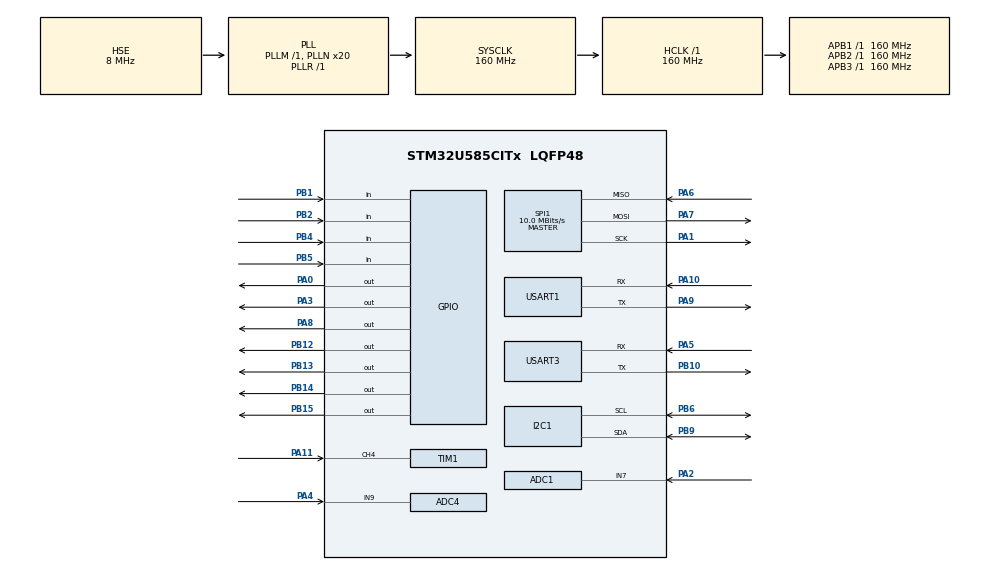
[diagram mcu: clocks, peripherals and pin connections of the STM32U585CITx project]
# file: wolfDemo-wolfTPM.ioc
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ADC1.NbrOfConversion=1
ADC1.master=1
ADC4.NbrOfConversion=1
ADC4.NbrOfConversionFlag=0
ADC4.SelectedChannel=ADC_CHANNEL_9
CORTEX_M33_NS.MPU_Control=__NULL
CORTEX_M33_NS.userName=CORTEX_M33
I2C1.Timing=0x30909DEC
Mcu.Family=STM32U5
Mcu.Name=STM32U585CITx
Mcu.Package=LQFP48
NVIC.PriorityGroup=NVIC_PRIORITYGROUP_4
NVIC.TIM6_IRQn=true\:2\:0\:true\:false\:true\:true\:true\:true
PA0.GPIO_Speed=GPIO_SPEED_FREQ_HIGH
PA0.PinState=GPIO_PIN_SET
PA0.Signal=GPIO_Output
PA1.GPIO_Speed=GPIO_SPEED_FREQ_LOW
PA1.Mode=Full_Duplex_Master
PA1.Signal=SPI1_SCK
PA10.Mode=Asynchronous
PA10.Signal=USART1_RX
PA11.Signal=S_TIM1_CH4
PA13\ (JTMS/SWDIO).Mode=JTAG_4_pins
PA13\ (JTMS/SWDIO).Signal=DEBUG_JTMS-SWDIO
PA14\ (JTCK/SWCLK).Mode=JTAG_4_pins
PA14\ (JTCK/SWCLK).Signal=DEBUG_JTCK-SWCLK
PA15\ (JTDI).Mode=JTAG_4_pins
PA15\ (JTDI).Signal=DEBUG_JTDI
PA2.Mode=IN7-Single-Ended
PA2.Signal=ADC1_IN7
PA3.GPIO_Speed=GPIO_SPEED_FREQ_VERY_HIGH
PA3.PinState=GPIO_PIN_RESET
PA3.Signal=GPIO_Output
PA4.Mode=IN9
PA4.Signal=ADC4_IN9
PA5.Mode=Asynchronous
PA5.Signal=USART3_RX
PA6.Mode=Full_Duplex_Master
PA6.Signal=SPI1_MISO
PA7.GPIO_Speed=GPIO_SPEED_FREQ_LOW
PA7.Mode=Full_Duplex_Master
PA7.Signal=SPI1_MOSI
PA8.Signal=GPIO_Output
PA9.Mode=Asynchronous
PA9.Signal=USART1_TX
PB1.Signal=GPIO_Input
PB10.Mode=Asynchronous
PB10.Signal=USART3_TX
PB12.GPIO_Speed=GPIO_SPEED_FREQ_HIGH
PB12.Signal=GPIO_Output
PB13.GPIO_Speed=GPIO_SPEED_FREQ_HIGH
PB13.Signal=GPIO_Output
PB14.GPIO_Speed=GPIO_SPEED_FREQ_HIGH
PB14.Signal=GPIO_Output
PB15.GPIO_ModeDefaultOutputPP=GPIO_MODE_OUTPUT_PP
PB15.GPIO_PuPd=GPIO_NOPULL
PB15.GPIO_Speed=GPIO_SPEED_FREQ_HIGH
PB15.Signal=GPIO_Output
PB2.Signal=GPIO_Input
PB3\ (JTDO/TRACESWO).Mode=JTAG_4_pins
PB3\ (JTDO/TRACESWO).Signal=DEBUG_JTDO-SWO
PB4\ (NJTRST).Signal=GPIO_Input
PB5.Signal=GPIO_Input
PB6.Mode=I2C
PB6.Signal=I2C1_SCL
PB9.Mode=I2C
PB9.Signal=I2C1_SDA
PC14-OSC32_IN\ (PC14).Mode=LSE-External-Oscillator
PC14-OSC32_IN\ (PC14).Signal=RCC_OSC32_IN
PC15-OSC32_OUT\ (PC15).Mode=LSE-External-Oscillator
PC15-OSC32_OUT\ (PC15).Signal=RCC_OSC32_OUT
PH0-OSC_IN\ (PH0).Mode=HSE-External-Oscillator
PH0-OSC_IN\ (PH0).Signal=RCC_OSC_IN
PH1-OSC_OUT\ (PH1).Mode=HSE-External-Oscillator
PH1-OSC_OUT\ (PH1).Signal=RCC_OSC_OUT
ProjectManager.HeapSize=0x200
ProjectManager.StackSize=0x400
ProjectManager.TargetToolchain=STM32CubeIDE
RCC.ADCFreq_Value=16000000
RCC.AHBFreq_Value=160000000
RCC.APB1Freq_Value=160000000
RCC.APB1TimFreq_Value=160000000
RCC.APB2Freq_Value=160000000
RCC.APB2TimFreq_Value=160000000
RCC.APB3Freq_Value=160000000
RCC.CortexFreq_Value=160000000
RCC.EPOD_VALUE=8000000
RCC.HCLKFreq_Value=160000000
RCC.HSE_VALUE=8000000
RCC.HSI48_VALUE=48000000
RCC.HSI_VALUE=16000000
RCC.LSIDIV_VALUE=32000
RCC.MSIClockRange=RCC_MSIRANGE_0
RCC.MSI_VALUE=48000000
RCC.PLL1R=1
RCC.PLL2FRACN=0
RCC.PLL3FRACN=0
RCC.PLLFRACN=0
RCC.PLLN=20
RCC.PLLSourceVirtual=RCC_PLLSOURCE_HSE
RCC.RTCClockSelection=RCC_RTCCLKSOURCE_LSE
RCC.SYSCLKFreq_VALUE=160000000
RCC.SYSCLKSource=RCC_SYSCLKSOURCE_PLLCLK
RCC.USBFreq_Value=48000000
RCC.VCOOutputFreq_Value=160000000
SH.S_TIM1_CH4.0=TIM1_CH4,Input_Capture4_from_TI4
SPI1.BaudRatePrescaler=SPI_BAUDRATEPRESCALER_16
SPI1.CalculateBaudRate=10.0 MBits/s
SPI1.DataSize=SPI_DATASIZE_8BIT
SPI1.Direction=SPI_DIRECTION_2LINES
SPI1.Mode=SPI_MODE_MASTER
SPI1.NSSPMode=SPI_NSS_PULSE_DISABLE
SPI1.VirtualType=VM_MASTER
TIM1.Channel-Input_Capture4_from_TI4=TIM_CHANNEL_4
TIM6.AutoReloadPreload=TIM_AUTORELOAD_PRELOAD_DISABLE
TIM6.PeriodNoDither=15
TIM6.Prescaler=159
TIM6.TIM_MasterOutputTrigger=TIM_TRGO_RESET
USART1.VirtualMode-Asynchronous=VM_ASYNC
USART3.VirtualMode-Asynchronous=VM_ASYNC
VP_AES_VS_AES.Mode=AES_Activate
VP_DCACHE1_VS_DCACHE.Mode=DCACHE_Activate
VP_HASH_VS_HASH.Mode=HASH_Activate
VP_ICACHE_VS_ICACHE.Mode=DefaultMode
VP_LPBAMQUEUE_VS_QUEUE.Mode=QUEUEMODE
VP_LPBAM_VS_SIG1.Mode=SmartRun
VP_LPBAM_VS_SIG4.Mode=LPDMA1
VP_MEMORYMAP_VS_MEMORYMAP.Mode=CurAppReg
VP_PKA_VS_PKA.Mode=PKA_Activate
VP_PWR_VS_SECSignals.Mode=Security/Privilege
VP_PWR_Vdda.Mode=isolationVdda
VP_RNG_VS_RNG.Mode=RNG_Activate
VP_RTC_VS_RTC_Activate.Mode=RTC_Enabled
VP_TIM6_VS_ClockSourceINT.Mode=Enable_Timer
VP_wolfSSL.I-CUBE-wolfSSL_VS_wolfSSLJjwolfSSL_5.8.2_5.8.2.Mode=wolfSSLJjwolfSSL
VP_wolfSSL.I-CUBE-wolfTPM_VS_wolfTPMJjwolfTPM_3.8.0_3.8.0.Mode=wolfTPMJjwolfTPM
board=custom
wolfSSL.I-CUBE-wolfSSL.5.8.2.WOLF_CONF_ARMASM=0
wolfSSL.I-CUBE-wolfSSL.5.8.2.WOLF_CONF_KYBER=1
wolfSSL.I-CUBE-wolfSSL.5.8.2.WOLF_CONF_SHA2_384=1
wolfSSL.I-CUBE-wolfSSL.5.8.2.WOLF_CONF_SHA2_512=1
wolfSSL.I-CUBE-wolfSSL.5.8.2.WOLF_CONF_SHA3=1
wolfSSL.I-CUBE-wolfSSL.5.8.2.WOLF_CONF_TPM=1
wolfSSL.I-CUBE-wolfSSL.5.8.2.WOLF_CONF_WOLFCRYPT_ONLY=1
wolfSSL.I-CUBE-wolfSSL.5.8.2.wolfSSLCcwolfSSLJjwolfCryptJjCore=true
wolfSSL.I-CUBE-wolfSSL.5.8.2.wolfSSLCcwolfSSLJjwolfCryptJjTest=true
wolfSSL.I-CUBE-wolfSSL.5.8.2.wolfSSLCcwolfSSLJjwolfSSLJjCore=true
wolfSSL.I-CUBE-wolfTPM.3.8.0.WOLFTPM_CONF_DEBUG=1
wolfSSL.I-CUBE-wolfTPM.3.8.0.WOLFTPM_CONF_HW_SPI=0
wolfSSL.I-CUBE-wolfTPM.3.8.0.wolfTPMCcwolfTPMJjwolfTPMJjCore=true
wolfSSL.I-CUBE-wolfTPM.3.8.0.wolfTPMCcwolfTPMJjwolfTPMJjTest=true

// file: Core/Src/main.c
/* USER CODE BEGIN Header */
/**
  ******************************************************************************
  * @file           : main.c
  * @brief          : Main program body
  ******************************************************************************
  * @attention
  *
  * Copyright (c) 2025 STMicroelectronics.
  * All rights reserved.
  *
  * This software is licensed under terms that can be found in the LICENSE file
  * in the root directory of this software component.
  * If no LICENSE file comes with this software, it is provided AS-IS.
  *
  ******************************************************************************
  */
/* USER CODE END Header */
#include "main.h"

/* USER CODE BEGIN Includes */
#include <stdio.h>
#include <stdbool.h>
#include <stdarg.h>
#include <wolfcrypt/benchmark/benchmark.h>
/* USER CODE END Includes */

ADC_HandleTypeDef hadc1;
ADC_HandleTypeDef hadc4;

CRYP_HandleTypeDef hcryp;
__ALIGN_BEGIN static const uint32_t pKeyAES[4] __ALIGN_END = {
                            0x00000000,0x00000000,0x00000000,0x00000000};

DCACHE_HandleTypeDef hdcache1;

HASH_HandleTypeDef hhash;

I2C_HandleTypeDef hi2c1;

PKA_HandleTypeDef hpka;

RNG_HandleTypeDef hrng;

RTC_HandleTypeDef hrtc;

SPI_HandleTypeDef hspi1;

TIM_HandleTypeDef htim1;
TIM_HandleTypeDef htim6;

UART_HandleTypeDef huart1;
UART_HandleTypeDef huart3;

void SystemClock_Config(void);
static void MX_GPIO_Init(void);
static void MX_ADC1_Init(void);
static void MX_ADC4_Init(void);
static void MX_I2C1_Init(void);
static void MX_SPI1_Init(void);
static void MX_TIM1_Init(void);
static void MX_USART1_UART_Init(void);
static void MX_USART3_UART_Init(void);
static void MX_DCACHE1_Init(void);
static void MX_ICACHE_Init(void);
static void MX_TIM6_Init(void);
static void MX_AES_Init(void);
static void MX_HASH_Init(void);
static void MX_RNG_Init(void);
static void MX_PKA_Init(void);
static void MX_RTC_Init(void);

/* USER CODE BEGIN 0 */
static int current_led = 0;
static inline void LED_Set(uint8_t idx, bool on)
{
  uint16_t pin;
  switch(idx) {
    case 0: pin = GPIO_PIN_12; break;
    case 1: pin = GPIO_PIN_13; break;
    case 2: pin = GPIO_PIN_14; break;
    default: pin = GPIO_PIN_15; break;
  }

  HAL_GPIO_WritePin(GPIOB, pin, on ? GPIO_PIN_SET : GPIO_PIN_RESET);
}
static inline void LED_Set_Change()
{

  switch(current_led) {
    case 0:
    	LED_Set(3, false);
    	LED_Set(0, true);
    	break;
    case 1:
    	LED_Set(0, false);
    	LED_Set(1, true);
    	break;
    case 2:
    	LED_Set(1, false);
    	LED_Set(2, true);
    	break;
    default:
    	LED_Set(2, false);
    	LED_Set(3, true);
    	break;
  }

  current_led++;
  if (current_led == 4)
	  current_led = 0;
}

/* Retargets the C library printf function to the USART. */
#include <stdio.h>
#ifdef __GNUC__
int __io_putchar(int ch)
#else
int fputc(int ch, FILE *f)
#endif
{
    HAL_UART_Transmit(&huart1, (uint8_t *)&ch, 1, 0xFFFF);

    return ch;
}

#ifdef __GNUC__
int _write(int file,char *ptr, int len)
{
    int DataIdx;

    for (DataIdx= 0; DataIdx< len; DataIdx++) {
        __io_putchar(*ptr++);
    }
    return len;
}
#endif

int _wrap_printf(const char *fmt, ...) {

    va_list ap;
    va_start(ap, fmt);
    LED_Set_Change();
    // Call the real vprintf so we don’t have to forward varargs ourselves
    int rc = vprintf(fmt, ap);
    va_end(ap);

    return rc;
}

/* USER CODE END 0 */

int main(void)
{

  /* MCU Configuration--------------------------------------------------------*/

  /* Reset of all peripherals, Initializes the Flash interface and the Systick. */
  HAL_Init();

  /* USER CODE BEGIN Init */
  /* Turn off buffers, so I/O occurs immediately */
  setvbuf(stdin, NULL, _IONBF, 0);
  setvbuf(stdout, NULL, _IONBF, 0);
  setvbuf(stderr, NULL, _IONBF, 0);
  /* USER CODE END Init */

  /* Configure the system clock */
  SystemClock_Config();

  /* Initialize all configured peripherals */
  MX_GPIO_Init();
  MX_ADC1_Init();
  MX_ADC4_Init();
  MX_I2C1_Init();
  MX_SPI1_Init();
  MX_TIM1_Init();
  MX_USART1_UART_Init();
  MX_USART3_UART_Init();
  MX_DCACHE1_Init();
  MX_ICACHE_Init();
  MX_TIM6_Init();
  MX_AES_Init();
  MX_HASH_Init();
  MX_RNG_Init();
  MX_PKA_Init();
  MX_RTC_Init();
  /* USER CODE BEGIN 2 */
  uint32_t loop_count = 0;
  /* USER CODE END 2 */

  /* Infinite loop */
  /* USER CODE BEGIN WHILE */
  while (1)
  {
	  loop_count++;
	  printf("\x1b[2J\x1b[H\x1b[4m\x1b[97mwolf\x1b[96mSSL \x1b[38;2;255;210;0mSTM32U585 @ 160 MHz, TPM benchmark\x1b[92m\x1b[0m\r\n");
	  printf("Benchmark Demo run %u\r\n", loop_count);

	  int rc = TPM2_Wrapper_Bench(&hspi1);
	  if (rc != 0)
		  printf("TPM fail: %d\n", rc);
	  else
		  printf("Benchmark complete!\n");
	  HAL_Delay(5000);
    /* USER CODE END WHILE */

  }
}

void SystemClock_Config(void)
{
  RCC_OscInitTypeDef RCC_OscInitStruct = {0};
  RCC_ClkInitTypeDef RCC_ClkInitStruct = {0};

  /** Configure the main internal regulator output voltage
  */
  if (HAL_PWREx_ControlVoltageScaling(PWR_REGULATOR_VOLTAGE_SCALE1) != HAL_OK)
  {
    Error_Handler();
  }

  /** Configure LSE Drive Capability
  */
  HAL_PWR_EnableBkUpAccess();
  __HAL_RCC_LSEDRIVE_CONFIG(RCC_LSEDRIVE_LOW);

  /** Initializes the CPU, AHB and APB buses clocks
  */
  RCC_OscInitStruct.OscillatorType = RCC_OSCILLATORTYPE_HSI48|RCC_OSCILLATORTYPE_HSI
                              |RCC_OSCILLATORTYPE_HSE|RCC_OSCILLATORTYPE_LSE;
  RCC_OscInitStruct.HSEState = RCC_HSE_ON;
  RCC_OscInitStruct.LSEState = RCC_LSE_ON;
  RCC_OscInitStruct.HSIState = RCC_HSI_ON;
  RCC_OscInitStruct.HSI48State = RCC_HSI48_ON;
  RCC_OscInitStruct.HSICalibrationValue = RCC_HSICALIBRATION_DEFAULT;
  RCC_OscInitStruct.PLL.PLLState = RCC_PLL_ON;
  RCC_OscInitStruct.PLL.PLLSource = RCC_PLLSOURCE_HSE;
  RCC_OscInitStruct.PLL.PLLMBOOST = RCC_PLLMBOOST_DIV1;
  RCC_OscInitStruct.PLL.PLLM = 1;
  RCC_OscInitStruct.PLL.PLLN = 20;
  RCC_OscInitStruct.PLL.PLLP = 2;
  RCC_OscInitStruct.PLL.PLLQ = 2;
  RCC_OscInitStruct.PLL.PLLR = 1;
  RCC_OscInitStruct.PLL.PLLRGE = RCC_PLLVCIRANGE_1;
  RCC_OscInitStruct.PLL.PLLFRACN = 0;
  if (HAL_RCC_OscConfig(&RCC_OscInitStruct) != HAL_OK)
  {
    Error_Handler();
  }

  /** Initializes the CPU, AHB and APB buses clocks
  */
  RCC_ClkInitStruct.ClockType = RCC_CLOCKTYPE_HCLK|RCC_CLOCKTYPE_SYSCLK
                              |RCC_CLOCKTYPE_PCLK1|RCC_CLOCKTYPE_PCLK2
                              |RCC_CLOCKTYPE_PCLK3;
  RCC_ClkInitStruct.SYSCLKSource = RCC_SYSCLKSOURCE_PLLCLK;
  RCC_ClkInitStruct.AHBCLKDivider = RCC_SYSCLK_DIV1;
  RCC_ClkInitStruct.APB1CLKDivider = RCC_HCLK_DIV1;
  RCC_ClkInitStruct.APB2CLKDivider = RCC_HCLK_DIV1;
  RCC_ClkInitStruct.APB3CLKDivider = RCC_HCLK_DIV1;

  if (HAL_RCC_ClockConfig(&RCC_ClkInitStruct, FLASH_LATENCY_4) != HAL_OK)
  {
    Error_Handler();
  }
}

static void MX_ADC1_Init(void)
{

  /** Common config
  */
  hadc1.Instance = ADC1;
  hadc1.Init.ClockPrescaler = ADC_CLOCK_ASYNC_DIV1;
  hadc1.Init.Resolution = ADC_RESOLUTION_14B;
  hadc1.Init.GainCompensation = 0;
  hadc1.Init.ScanConvMode = ADC_SCAN_DISABLE;
  hadc1.Init.EOCSelection = ADC_EOC_SINGLE_CONV;
  hadc1.Init.LowPowerAutoWait = DISABLE;
  hadc1.Init.ContinuousConvMode = DISABLE;
  hadc1.Init.NbrOfConversion = 1;
  hadc1.Init.DiscontinuousConvMode = DISABLE;
  hadc1.Init.DMAContinuousRequests = DISABLE;
  hadc1.Init.TriggerFrequencyMode = ADC_TRIGGER_FREQ_HIGH;
  hadc1.Init.Overrun = ADC_OVR_DATA_PRESERVED;
  hadc1.Init.LeftBitShift = ADC_LEFTBITSHIFT_NONE;
  hadc1.Init.ConversionDataManagement = ADC_CONVERSIONDATA_DR;
  hadc1.Init.OversamplingMode = DISABLE;
  if (HAL_ADC_Init(&hadc1) != HAL_OK)
  {
    Error_Handler();
  }

}

static void MX_ADC4_Init(void)
{

  /** Common config
  */
  hadc4.Instance = ADC4;
  hadc4.Init.ClockPrescaler = ADC_CLOCK_ASYNC_DIV1;
  hadc4.Init.Resolution = ADC_RESOLUTION_12B;
  hadc4.Init.DataAlign = ADC_DATAALIGN_RIGHT;
  hadc4.Init.ScanConvMode = ADC_SCAN_DIRECTION_FORWARD;
  hadc4.Init.EOCSelection = ADC_EOC_SINGLE_CONV;
  hadc4.Init.LowPowerAutoPowerOff = ADC_LOW_POWER_NONE;
  hadc4.Init.LowPowerAutoWait = DISABLE;
  hadc4.Init.ContinuousConvMode = DISABLE;
  hadc4.Init.NbrOfConversion = 1;
  hadc4.Init.DiscontinuousConvMode = DISABLE;
  hadc4.Init.ExternalTrigConv = ADC_SOFTWARE_START;
  hadc4.Init.ExternalTrigConvEdge = ADC_EXTERNALTRIGCONVEDGE_NONE;
  hadc4.Init.DMAContinuousRequests = DISABLE;
  hadc4.Init.TriggerFrequencyMode = ADC_TRIGGER_FREQ_LOW;
  hadc4.Init.Overrun = ADC_OVR_DATA_PRESERVED;
  hadc4.Init.SamplingTimeCommon1 = ADC4_SAMPLETIME_1CYCLE_5;
  hadc4.Init.SamplingTimeCommon2 = ADC4_SAMPLETIME_1CYCLE_5;
  hadc4.Init.OversamplingMode = DISABLE;
  if (HAL_ADC_Init(&hadc4) != HAL_OK)
  {
    Error_Handler();
  }

}

static void MX_AES_Init(void)
{

  hcryp.Instance = AES;
  hcryp.Init.DataType = CRYP_NO_SWAP;
  hcryp.Init.KeySize = CRYP_KEYSIZE_128B;
  hcryp.Init.pKey = (uint32_t *)pKeyAES;
  hcryp.Init.Algorithm = CRYP_AES_ECB;
  hcryp.Init.DataWidthUnit = CRYP_DATAWIDTHUNIT_WORD;
  hcryp.Init.HeaderWidthUnit = CRYP_HEADERWIDTHUNIT_WORD;
  hcryp.Init.KeyIVConfigSkip = CRYP_KEYIVCONFIG_ALWAYS;
  hcryp.Init.KeyMode = CRYP_KEYMODE_NORMAL;
  if (HAL_CRYP_Init(&hcryp) != HAL_OK)
  {
    Error_Handler();
  }

}

static void MX_DCACHE1_Init(void)
{

  hdcache1.Instance = DCACHE1;
  hdcache1.Init.ReadBurstType = DCACHE_READ_BURST_WRAP;
  if (HAL_DCACHE_Init(&hdcache1) != HAL_OK)
  {
    Error_Handler();
  }

}

static void MX_HASH_Init(void)
{

  hhash.Init.DataType = HASH_DATATYPE_32B;
  if (HAL_HASH_Init(&hhash) != HAL_OK)
  {
    Error_Handler();
  }

}

static void MX_I2C1_Init(void)
{

  hi2c1.Instance = I2C1;
  hi2c1.Init.Timing = 0x30909DEC;
  hi2c1.Init.OwnAddress1 = 0;
  hi2c1.Init.AddressingMode = I2C_ADDRESSINGMODE_7BIT;
  hi2c1.Init.DualAddressMode = I2C_DUALADDRESS_DISABLE;
  hi2c1.Init.OwnAddress2 = 0;
  hi2c1.Init.OwnAddress2Masks = I2C_OA2_NOMASK;
  hi2c1.Init.GeneralCallMode = I2C_GENERALCALL_DISABLE;
  hi2c1.Init.NoStretchMode = I2C_NOSTRETCH_DISABLE;
  if (HAL_I2C_Init(&hi2c1) != HAL_OK)
  {
    Error_Handler();
  }

  /** Configure Analogue filter
  */
  if (HAL_I2CEx_ConfigAnalogFilter(&hi2c1, I2C_ANALOGFILTER_ENABLE) != HAL_OK)
  {
    Error_Handler();
  }

  /** Configure Digital filter
  */
  if (HAL_I2CEx_ConfigDigitalFilter(&hi2c1, 0) != HAL_OK)
  {
    Error_Handler();
  }

}

static void MX_ICACHE_Init(void)
{

  /** Enable instruction cache (default 2-ways set associative cache)
  */
  if (HAL_ICACHE_Enable() != HAL_OK)
  {
    Error_Handler();
  }

}

static void MX_PKA_Init(void)
{

  hpka.Instance = PKA;
  if (HAL_PKA_Init(&hpka) != HAL_OK)
  {
    Error_Handler();
  }

}

static void MX_RNG_Init(void)
{

  hrng.Instance = RNG;
  hrng.Init.ClockErrorDetection = RNG_CED_ENABLE;
  if (HAL_RNG_Init(&hrng) != HAL_OK)
  {
    Error_Handler();
  }

}

static void MX_RTC_Init(void)
{

  RTC_PrivilegeStateTypeDef privilegeState = {0};

  /** Initialize RTC Only
  */
  hrtc.Instance = RTC;
  hrtc.Init.HourFormat = RTC_HOURFORMAT_24;
  hrtc.Init.AsynchPrediv = 127;
  hrtc.Init.SynchPrediv = 255;
  hrtc.Init.OutPut = RTC_OUTPUT_DISABLE;
  hrtc.Init.OutPutRemap = RTC_OUTPUT_REMAP_NONE;
  hrtc.Init.OutPutPolarity = RTC_OUTPUT_POLARITY_HIGH;
  hrtc.Init.OutPutType = RTC_OUTPUT_TYPE_OPENDRAIN;
  hrtc.Init.OutPutPullUp = RTC_OUTPUT_PULLUP_NONE;
  hrtc.Init.BinMode = RTC_BINARY_NONE;
  if (HAL_RTC_Init(&hrtc) != HAL_OK)
  {
    Error_Handler();
  }
  privilegeState.rtcPrivilegeFull = RTC_PRIVILEGE_FULL_NO;
  privilegeState.backupRegisterPrivZone = RTC_PRIVILEGE_BKUP_ZONE_NONE;
  privilegeState.backupRegisterStartZone2 = RTC_BKP_DR0;
  privilegeState.backupRegisterStartZone3 = RTC_BKP_DR0;
  if (HAL_RTCEx_PrivilegeModeSet(&hrtc, &privilegeState) != HAL_OK)
  {
    Error_Handler();
  }

}

static void MX_SPI1_Init(void)
{

  SPI_AutonomousModeConfTypeDef HAL_SPI_AutonomousMode_Cfg_Struct = {0};

  /* SPI1 parameter configuration*/
  hspi1.Instance = SPI1;
  hspi1.Init.Mode = SPI_MODE_MASTER;
  hspi1.Init.Direction = SPI_DIRECTION_2LINES;
  hspi1.Init.DataSize = SPI_DATASIZE_8BIT;
  hspi1.Init.CLKPolarity = SPI_POLARITY_LOW;
  hspi1.Init.CLKPhase = SPI_PHASE_1EDGE;
  hspi1.Init.NSS = SPI_NSS_SOFT;
  hspi1.Init.BaudRatePrescaler = SPI_BAUDRATEPRESCALER_8;
  hspi1.Init.FirstBit = SPI_FIRSTBIT_MSB;
  hspi1.Init.TIMode = SPI_TIMODE_DISABLE;
  hspi1.Init.CRCCalculation = SPI_CRCCALCULATION_DISABLE;
  hspi1.Init.CRCPolynomial = 0x7;
  hspi1.Init.NSSPMode = SPI_NSS_PULSE_DISABLE;
  hspi1.Init.NSSPolarity = SPI_NSS_POLARITY_LOW;
  hspi1.Init.FifoThreshold = SPI_FIFO_THRESHOLD_01DATA;
  hspi1.Init.MasterSSIdleness = SPI_MASTER_SS_IDLENESS_00CYCLE;
  hspi1.Init.MasterInterDataIdleness = SPI_MASTER_INTERDATA_IDLENESS_00CYCLE;
  hspi1.Init.MasterReceiverAutoSusp = SPI_MASTER_RX_AUTOSUSP_DISABLE;
  hspi1.Init.MasterKeepIOState = SPI_MASTER_KEEP_IO_STATE_DISABLE;
  hspi1.Init.IOSwap = SPI_IO_SWAP_DISABLE;
  hspi1.Init.ReadyMasterManagement = SPI_RDY_MASTER_MANAGEMENT_INTERNALLY;
  hspi1.Init.ReadyPolarity = SPI_RDY_POLARITY_HIGH;
  if (HAL_SPI_Init(&hspi1) != HAL_OK)
  {
    Error_Handler();
  }
  HAL_SPI_AutonomousMode_Cfg_Struct.TriggerState = SPI_AUTO_MODE_DISABLE;
  HAL_SPI_AutonomousMode_Cfg_Struct.TriggerSelection = SPI_GRP1_GPDMA_CH0_TCF_TRG;
  HAL_SPI_AutonomousMode_Cfg_Struct.TriggerPolarity = SPI_TRIG_POLARITY_RISING;
  if (HAL_SPIEx_SetConfigAutonomousMode(&hspi1, &HAL_SPI_AutonomousMode_Cfg_Struct) != HAL_OK)
  {
    Error_Handler();
  }

}

static void MX_TIM1_Init(void)
{

  TIM_MasterConfigTypeDef sMasterConfig = {0};
  TIM_IC_InitTypeDef sConfigIC = {0};

  htim1.Instance = TIM1;
  htim1.Init.Prescaler = 0;
  htim1.Init.CounterMode = TIM_COUNTERMODE_UP;
  htim1.Init.Period = 65535;
  htim1.Init.ClockDivision = TIM_CLOCKDIVISION_DIV1;
  htim1.Init.RepetitionCounter = 0;
  htim1.Init.AutoReloadPreload = TIM_AUTORELOAD_PRELOAD_DISABLE;
  if (HAL_TIM_IC_Init(&htim1) != HAL_OK)
  {
    Error_Handler();
  }
  sMasterConfig.MasterOutputTrigger = TIM_TRGO_RESET;
  sMasterConfig.MasterOutputTrigger2 = TIM_TRGO2_RESET;
  sMasterConfig.MasterSlaveMode = TIM_MASTERSLAVEMODE_DISABLE;
  if (HAL_TIMEx_MasterConfigSynchronization(&htim1, &sMasterConfig) != HAL_OK)
  {
    Error_Handler();
  }
  sConfigIC.ICPolarity = TIM_INPUTCHANNELPOLARITY_RISING;
  sConfigIC.ICSelection = TIM_ICSELECTION_DIRECTTI;
  sConfigIC.ICPrescaler = TIM_ICPSC_DIV1;
  sConfigIC.ICFilter = 0;
  if (HAL_TIM_IC_ConfigChannel(&htim1, &sConfigIC, TIM_CHANNEL_4) != HAL_OK)
  {
    Error_Handler();
  }

}

static void MX_TIM6_Init(void)
{

  TIM_MasterConfigTypeDef sMasterConfig = {0};

  htim6.Instance = TIM6;
  htim6.Init.Prescaler = 159;
  htim6.Init.CounterMode = TIM_COUNTERMODE_UP;
  htim6.Init.Period = 15;
  htim6.Init.AutoReloadPreload = TIM_AUTORELOAD_PRELOAD_DISABLE;
  if (HAL_TIM_Base_Init(&htim6) != HAL_OK)
  {
    Error_Handler();
  }
  sMasterConfig.MasterOutputTrigger = TIM_TRGO_RESET;
  sMasterConfig.MasterSlaveMode = TIM_MASTERSLAVEMODE_DISABLE;
  if (HAL_TIMEx_MasterConfigSynchronization(&htim6, &sMasterConfig) != HAL_OK)
  {
    Error_Handler();
  }

}

static void MX_USART1_UART_Init(void)
{

  huart1.Instance = USART1;
  huart1.Init.BaudRate = 115200;
  huart1.Init.WordLength = UART_WORDLENGTH_8B;
  huart1.Init.StopBits = UART_STOPBITS_1;
  huart1.Init.Parity = UART_PARITY_NONE;
  huart1.Init.Mode = UART_MODE_TX_RX;
  huart1.Init.HwFlowCtl = UART_HWCONTROL_NONE;
  huart1.Init.OverSampling = UART_OVERSAMPLING_16;
  huart1.Init.OneBitSampling = UART_ONE_BIT_SAMPLE_DISABLE;
  huart1.Init.ClockPrescaler = UART_PRESCALER_DIV1;
  huart1.AdvancedInit.AdvFeatureInit = UART_ADVFEATURE_NO_INIT;
  if (HAL_UART_Init(&huart1) != HAL_OK)
  {
    Error_Handler();
  }
  if (HAL_UARTEx_SetTxFifoThreshold(&huart1, UART_TXFIFO_THRESHOLD_1_8) != HAL_OK)
  {
    Error_Handler();
  }
  if (HAL_UARTEx_SetRxFifoThreshold(&huart1, UART_RXFIFO_THRESHOLD_1_8) != HAL_OK)
  {
    Error_Handler();
  }
  if (HAL_UARTEx_DisableFifoMode(&huart1) != HAL_OK)
  {
    Error_Handler();
  }

}

static void MX_USART3_UART_Init(void)
{

  huart3.Instance = USART3;
  huart3.Init.BaudRate = 115200;
  huart3.Init.WordLength = UART_WORDLENGTH_8B;
  huart3.Init.StopBits = UART_STOPBITS_1;
  huart3.Init.Parity = UART_PARITY_NONE;
  huart3.Init.Mode = UART_MODE_TX_RX;
  huart3.Init.HwFlowCtl = UART_HWCONTROL_NONE;
  huart3.Init.OverSampling = UART_OVERSAMPLING_16;
  huart3.Init.OneBitSampling = UART_ONE_BIT_SAMPLE_DISABLE;
  huart3.Init.ClockPrescaler = UART_PRESCALER_DIV1;
  huart3.AdvancedInit.AdvFeatureInit = UART_ADVFEATURE_NO_INIT;
  if (HAL_UART_Init(&huart3) != HAL_OK)
  {
    Error_Handler();
  }
  if (HAL_UARTEx_SetTxFifoThreshold(&huart3, UART_TXFIFO_THRESHOLD_1_8) != HAL_OK)
  {
    Error_Handler();
  }
  if (HAL_UARTEx_SetRxFifoThreshold(&huart3, UART_RXFIFO_THRESHOLD_1_8) != HAL_OK)
  {
    Error_Handler();
  }
  if (HAL_UARTEx_DisableFifoMode(&huart3) != HAL_OK)
  {
    Error_Handler();
  }

}

static void MX_GPIO_Init(void)
{
  GPIO_InitTypeDef GPIO_InitStruct = {0};

  /* GPIO Ports Clock Enable */
  __HAL_RCC_GPIOC_CLK_ENABLE();
  __HAL_RCC_GPIOH_CLK_ENABLE();
  __HAL_RCC_GPIOA_CLK_ENABLE();
  __HAL_RCC_GPIOB_CLK_ENABLE();

  /*Configure GPIO pin Output Level */
  HAL_GPIO_WritePin(GPIOA, GPIO_PIN_0, GPIO_PIN_SET);

  /*Configure GPIO pin Output Level */
  HAL_GPIO_WritePin(GPIOA, GPIO_PIN_3|GPIO_PIN_8, GPIO_PIN_RESET);

  /*Configure GPIO pin Output Level */
  HAL_GPIO_WritePin(GPIOB, GPIO_PIN_12|GPIO_PIN_13|GPIO_PIN_14|GPIO_PIN_15, GPIO_PIN_RESET);

  /*Configure GPIO pin : PA0 */
  GPIO_InitStruct.Pin = GPIO_PIN_0;
  GPIO_InitStruct.Mode = GPIO_MODE_OUTPUT_PP;
  GPIO_InitStruct.Pull = GPIO_NOPULL;
  GPIO_InitStruct.Speed = GPIO_SPEED_FREQ_HIGH;
  HAL_GPIO_Init(GPIOA, &GPIO_InitStruct);

  /*Configure GPIO pin : PA3 */
  GPIO_InitStruct.Pin = GPIO_PIN_3;
  GPIO_InitStruct.Mode = GPIO_MODE_OUTPUT_PP;
  GPIO_InitStruct.Pull = GPIO_NOPULL;
  GPIO_InitStruct.Speed = GPIO_SPEED_FREQ_VERY_HIGH;
  HAL_GPIO_Init(GPIOA, &GPIO_InitStruct);

  /*Configure GPIO pins : PB1 PB2 PB4 PB5 */
  GPIO_InitStruct.Pin = GPIO_PIN_1|GPIO_PIN_2|GPIO_PIN_4|GPIO_PIN_5;
  GPIO_InitStruct.Mode = GPIO_MODE_INPUT;
  GPIO_InitStruct.Pull = GPIO_NOPULL;
  HAL_GPIO_Init(GPIOB, &GPIO_InitStruct);

  /*Configure GPIO pins : PB12 PB13 PB14 PB15 */
  GPIO_InitStruct.Pin = GPIO_PIN_12|GPIO_PIN_13|GPIO_PIN_14|GPIO_PIN_15;
  GPIO_InitStruct.Mode = GPIO_MODE_OUTPUT_PP;
  GPIO_InitStruct.Pull = GPIO_NOPULL;
  GPIO_InitStruct.Speed = GPIO_SPEED_FREQ_HIGH;
  HAL_GPIO_Init(GPIOB, &GPIO_InitStruct);

  /*Configure GPIO pin : PA8 */
  GPIO_InitStruct.Pin = GPIO_PIN_8;
  GPIO_InitStruct.Mode = GPIO_MODE_OUTPUT_PP;
  GPIO_InitStruct.Pull = GPIO_NOPULL;
  GPIO_InitStruct.Speed = GPIO_SPEED_FREQ_LOW;
  HAL_GPIO_Init(GPIOA, &GPIO_InitStruct);

  /* USER CODE BEGIN MX_GPIO_Init_2 */

  __HAL_RCC_SPI1_CLK_ENABLE();
  GPIO_InitTypeDef g = {0};
  g.Pin = GPIO_PIN_1;
  g.Mode = GPIO_MODE_AF_PP;
  g.Pull = GPIO_NOPULL;               // add pull if your bus needs it
  g.Speed = GPIO_SPEED_FREQ_VERY_HIGH;
  g.Alternate = GPIO_AF5_SPI1;        // <- key bit
  HAL_GPIO_Init(GPIOA, &g);

  /* USER CODE END MX_GPIO_Init_2 */
}

void Error_Handler(void)
{
  __disable_irq();
  while (1)
  {
  }
}
